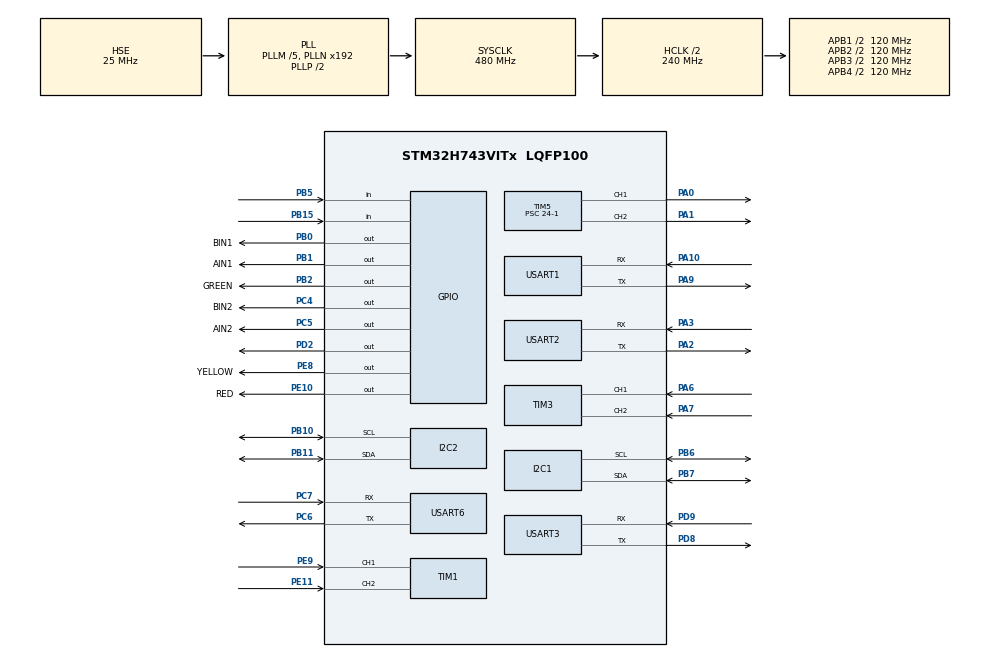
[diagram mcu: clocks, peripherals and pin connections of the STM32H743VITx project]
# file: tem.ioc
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CORTEX_M7.AccessPermission-Cortex_Memory_Protection_Unit_Region0_Settings=MPU_REGION_FULL_ACCESS
CORTEX_M7.AccessPermission-Cortex_Memory_Protection_Unit_Region1_Settings=MPU_REGION_FULL_ACCESS
CORTEX_M7.AccessPermission-Cortex_Memory_Protection_Unit_Region2_Settings=MPU_REGION_FULL_ACCESS
CORTEX_M7.AccessPermission-Cortex_Memory_Protection_Unit_Region3_Settings=MPU_REGION_FULL_ACCESS
CORTEX_M7.AccessPermission-Cortex_Memory_Protection_Unit_Region4_Settings=MPU_REGION_FULL_ACCESS
CORTEX_M7.BaseAddress-Cortex_Memory_Protection_Unit_Region0_Settings=0x24000000
CORTEX_M7.BaseAddress-Cortex_Memory_Protection_Unit_Region1_Settings=0x30000000
CORTEX_M7.BaseAddress-Cortex_Memory_Protection_Unit_Region2_Settings=0x30020000
CORTEX_M7.BaseAddress-Cortex_Memory_Protection_Unit_Region3_Settings=0x30040000
CORTEX_M7.BaseAddress-Cortex_Memory_Protection_Unit_Region4_Settings=0x38000000
CORTEX_M7.CPU_DCache=Enabled
CORTEX_M7.CPU_ICache=Enabled
CORTEX_M7.Enable-Cortex_Memory_Protection_Unit_Region0_Settings=MPU_REGION_ENABLE
CORTEX_M7.Enable-Cortex_Memory_Protection_Unit_Region1_Settings=MPU_REGION_ENABLE
CORTEX_M7.Enable-Cortex_Memory_Protection_Unit_Region2_Settings=MPU_REGION_ENABLE
CORTEX_M7.Enable-Cortex_Memory_Protection_Unit_Region3_Settings=MPU_REGION_ENABLE
CORTEX_M7.Enable-Cortex_Memory_Protection_Unit_Region4_Settings=MPU_REGION_ENABLE
CORTEX_M7.IsBufferable-Cortex_Memory_Protection_Unit_Region0_Settings=MPU_ACCESS_BUFFERABLE
CORTEX_M7.IsCacheable-Cortex_Memory_Protection_Unit_Region0_Settings=MPU_ACCESS_CACHEABLE
CORTEX_M7.MPU_Control=MPU_PRIVILEGED_DEFAULT
CORTEX_M7.Size-Cortex_Memory_Protection_Unit_Region0_Settings=MPU_REGION_SIZE_512KB
CORTEX_M7.Size-Cortex_Memory_Protection_Unit_Region1_Settings=MPU_REGION_SIZE_128KB
CORTEX_M7.Size-Cortex_Memory_Protection_Unit_Region2_Settings=MPU_REGION_SIZE_128KB
CORTEX_M7.Size-Cortex_Memory_Protection_Unit_Region3_Settings=MPU_REGION_SIZE_32KB
CORTEX_M7.Size-Cortex_Memory_Protection_Unit_Region4_Settings=MPU_REGION_SIZE_64KB
CORTEX_M7.TypeExtField-Cortex_Memory_Protection_Unit_Region0_Settings=MPU_TEX_LEVEL1
CORTEX_M7.TypeExtField-Cortex_Memory_Protection_Unit_Region1_Settings=MPU_TEX_LEVEL1
CORTEX_M7.TypeExtField-Cortex_Memory_Protection_Unit_Region2_Settings=MPU_TEX_LEVEL1
CORTEX_M7.TypeExtField-Cortex_Memory_Protection_Unit_Region3_Settings=MPU_TEX_LEVEL1
CORTEX_M7.TypeExtField-Cortex_Memory_Protection_Unit_Region4_Settings=MPU_TEX_LEVEL1
I2C1.Timing=0x307075B1
I2C2.Timing=0x307075B1
Mcu.Family=STM32H7
Mcu.Name=STM32H743VITx
Mcu.Package=LQFP100
NVIC.PriorityGroup=NVIC_PRIORITYGROUP_4
NVIC.TIM1_UP_IRQn=true\:0\:0\:false\:false\:true\:true\:true\:true
NVIC.TIM3_IRQn=true\:0\:0\:false\:false\:true\:true\:true\:true
NVIC.TIM7_IRQn=true\:0\:0\:false\:false\:true\:true\:true\:true
NVIC.USART1_IRQn=true\:0\:0\:false\:false\:true\:true\:true\:true
NVIC.USART2_IRQn=true\:0\:0\:false\:false\:true\:true\:true\:true
NVIC.USART3_IRQn=true\:0\:0\:false\:false\:true\:true\:true\:true
NVIC.USART6_IRQn=true\:0\:0\:false\:false\:true\:true\:true\:true
PA0.Signal=S_TIM5_CH1
PA1.Signal=S_TIM5_CH2
PA10.Mode=Asynchronous
PA10.Signal=USART1_RX
PA13\ (JTMS/SWDIO).Mode=Serial_Wire
PA13\ (JTMS/SWDIO).Signal=DEBUG_JTMS-SWDIO
PA14\ (JTCK/SWCLK).Mode=Serial_Wire
PA14\ (JTCK/SWCLK).Signal=DEBUG_JTCK-SWCLK
PA2.Mode=Asynchronous
PA2.Signal=USART2_TX
PA3.Mode=Asynchronous
PA3.Signal=USART2_RX
PA6.Signal=S_TIM3_CH1
PA7.Signal=S_TIM3_CH2
PA9.Mode=Asynchronous
PA9.Signal=USART1_TX
PB0.GPIO_Label=BIN1
PB0.Signal=GPIO_Output
PB1.GPIO_Label=AIN1
PB1.Signal=GPIO_Output
PB10.Mode=I2C
PB10.Signal=I2C2_SCL
PB11.Mode=I2C
PB11.Signal=I2C2_SDA
PB15.Signal=GPIO_Input
PB2.GPIO_Label=GREEN
PB2.Signal=GPIO_Output
PB5.Signal=GPIO_Input
PB6.Mode=I2C
PB6.Signal=I2C1_SCL
PB7.Mode=I2C
PB7.Signal=I2C1_SDA
PC4.GPIO_Label=BIN2
PC4.Signal=GPIO_Output
PC5.GPIO_Label=AIN2
PC5.Signal=GPIO_Output
PC6.Mode=Asynchronous
PC6.Signal=USART6_TX
PC7.Mode=Asynchronous
PC7.Signal=USART6_RX
PD2.Signal=GPIO_Output
PD8.Mode=Asynchronous
PD8.Signal=USART3_TX
PD9.Mode=Asynchronous
PD9.Signal=USART3_RX
PE10.GPIO_Label=RED
PE10.Signal=GPIO_Output
PE11.Signal=S_TIM1_CH2
PE8.GPIO_Label=YELLOW
PE8.Signal=GPIO_Output
PE9.Signal=S_TIM1_CH1
PH0-OSC_IN\ (PH0).Mode=HSE-External-Oscillator
PH0-OSC_IN\ (PH0).Signal=RCC_OSC_IN
PH1-OSC_OUT\ (PH1).Mode=HSE-External-Oscillator
PH1-OSC_OUT\ (PH1).Signal=RCC_OSC_OUT
ProjectManager.HeapSize=0x10000
ProjectManager.StackSize=0x7400
ProjectManager.TargetToolchain=MDK-ARM V5.32
RCC.ADCFreq_Value=50390625
RCC.APB1Freq_Value=120000000
RCC.APB2Freq_Value=120000000
RCC.APB3Freq_Value=120000000
RCC.APB4Freq_Value=120000000
RCC.CortexFreq_Value=480000000
RCC.D1PPRE=RCC_APB3_DIV2
RCC.D2PPRE1=RCC_APB1_DIV2
RCC.D2PPRE2=RCC_APB2_DIV2
RCC.D3PPRE=RCC_APB4_DIV2
RCC.DIVM1=5
RCC.DIVN1=192
RCC.HCLKFreq_Value=240000000
RCC.HPRE=RCC_HCLK_DIV2
RCC.HSE_VALUE=25000000
RCC.PLLSourceVirtual=RCC_PLLSOURCE_HSE
RCC.PWR_Regulator_Voltage_Scale=PWR_REGULATOR_VOLTAGE_SCALE0
RCC.ProductRev=revV
RCC.SYSCLKFreq_VALUE=480000000
RCC.SYSCLKSource=RCC_SYSCLKSOURCE_PLLCLK
RCC.USBFreq_Value=480000000
SH.S_TIM1_CH1.0=TIM1_CH1,Encoder_Interface
SH.S_TIM1_CH2.0=TIM1_CH2,Encoder_Interface
SH.S_TIM3_CH1.0=TIM3_CH1,Encoder_Interface
SH.S_TIM3_CH2.0=TIM3_CH2,Encoder_Interface
SH.S_TIM5_CH1.0=TIM5_CH1,PWM Generation1 CH1
SH.S_TIM5_CH2.0=TIM5_CH2,PWM Generation2 CH2
TIM5.Channel-PWM\ Generation1\ CH1=TIM_CHANNEL_1
TIM5.Channel-PWM\ Generation2\ CH2=TIM_CHANNEL_2
TIM5.Period=1000-1
TIM5.Prescaler=24-1
TIM6.Prescaler=240-1
TIM7.Prescaler=239
USART1.VirtualMode-Asynchronous=VM_ASYNC
USART2.VirtualMode-Asynchronous=VM_ASYNC
USART3.VirtualMode-Asynchronous=VM_ASYNC
USART6.VirtualMode=VM_ASYNC
VP_TIM5_VS_ClockSourceINT.Mode=Internal
VP_TIM6_VS_ClockSourceINT.Mode=Enable_Timer
VP_TIM7_VS_ClockSourceINT.Mode=Enable_Timer
board=custom

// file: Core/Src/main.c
/* USER CODE BEGIN Header */
/**
  ******************************************************************************
  * @file           : main.c
  * @brief          : Main program body
  ******************************************************************************
  * @attention
  *
  * Copyright (c) 2025 STMicroelectronics.
  * All rights reserved.
  *
  * This software is licensed under terms that can be found in the LICENSE file
  * in the root directory of this software component.
  * If no LICENSE file comes with this software, it is provided AS-IS.
  *
  ******************************************************************************
  */
/* USER CODE END Header */
#include "main.h"
#include "i2c.h"
#include "tim.h"
#include "usart.h"
#include "gpio.h"

/* USER CODE BEGIN Includes */
#include "AllHeader.h"
/* USER CODE END Includes */

/* USER CODE BEGIN PV */
// MS601M 传感器数据结构体
atk_ms601m_attitude_data_t attitude_dat;
atk_ms601m_gyro_data_t gyro_dat;
atk_ms601m_accelerometer_data_t accelerometer_dat;
char message[256];
float current_yaw;//用于存储现在的yaw
const float back_angle_cor = -1.6;//用于纠正陀螺仪的系统误差，当角度过小（逆时针不够）
float distance = 0.0f;// 距离变量

//感为传感器数据变量
int Digtal[8];

//状态机变量
MODE mode = {WAIT_MODE}; // 初始化模式为送药模式，位置为零
short drug_change = 1;
//用于标记是否需要进行药物模式的转化，
//只有在最开始的时候是1，以及在最后程序停止的时候是1，中间为0，即中间不需要检测是否装药
bool Sampling_Begin = true; //视觉模块是否开始采样
uint32_t mode_begin_t = 0;//记录模式开始的时间
bool hasStopped = false;

//测量过的转弯参数
const float r = 0.20;
const float tel = 20;

const int back_delay = 300;//防止敲头，在后转之后停止一段时间

// 接收状态和缓冲区
uint8_t Visual_Rx_Buff[Visual_Rx_Buff_Len] = {0};
// 真正接受数据的函数
uint8_t Visual_Data[25] = {0} ;

/* USER CODE END PV */

void SystemClock_Config(void);
static void MPU_Initialize(void);
static void MPU_Config(void);
/* USER CODE BEGIN PFP */
bool CheckAndTurn(void);
bool CheckAndEnd(void);
/* USER CODE END PFP */

int main(void)
{

  /* Enable I-Cache---------------------------------------------------------*/
  SCB_EnableICache();

  /* Enable D-Cache---------------------------------------------------------*/
  SCB_EnableDCache();

  /* MCU Configuration--------------------------------------------------------*/

  /* Reset of all peripherals, Initializes the Flash interface and the Systick. */
  HAL_Init();

  /* MPU Configuration--------------------------------------------------------*/
  MPU_Config();

  /* Configure the system clock */
  SystemClock_Config();

  /* Initialize all configured peripherals */
  MX_GPIO_Init();
  MX_TIM7_Init();
  MX_USART1_UART_Init();
  MX_TIM1_Init();
  MX_TIM3_Init();
  MX_TIM5_Init();
  MX_TIM6_Init();
  MX_USART2_UART_Init();
  MX_USART3_UART_Init();
  MX_I2C1_Init();
  MX_USART6_UART_Init();
  MX_I2C2_Init();
  /* USER CODE BEGIN 2 */
	//陀螺仪初始化
	atk_ms601m_init(115200);
  //状态机初始化
	mode.loc.n = 0;
	// 电机和编码器初始化
  Motor Left, Right;
	MEInit(&Left, &Right);
	//OLED屏幕初始化
	OLED_Init();
  OLED_Clear();
  //视觉模块初始化
  visual_full_reset();
	// 接收中断初始化
  HAL_UARTEx_ReceiveToIdle_IT(&huart6, Visual_Rx_Buff, Visual_Rx_Buff_Len);

	mode.loc.n = 0;

//
  /* USER CODE END 2 */
  /* Infinite loop */
  /* USER CODE BEGIN WHILE */
  while (1)
  {
    UpdateData_Car(); // 更新汽车状态数据
		IIC_Get_Digtal(Digtal);
//		SwitchLED(mode.loc.n);
//		if(mode.dir == UNSTABLE)
//			RED_up();
    if(drug_change)
    {
      if(drugSet(&mode))// 进行药物模式的转化，如果转换成功进入if
      {
        drug_change = 0; // 转化完成后将标志位设为0
        mode_begin_t = HAL_GetTick(); // 记录模式开始的时间
      }
      continue; // 继续下一次循环
    }
    switch (mode.drug)
    {
      case WAIT_MODE:
        // 等待模式下的处理逻辑
        break;
      case PROPEL_MODE:
        // 药物模式下的处理逻辑
        if(!isEndOfWay(mode.loc)) // 检查当前位置是否是终点，如果不是循迹正行
        {
          if(isIntheCheckLoc(mode.loc)) // 如果在检查位置
          {
            if(isInTheCheckplace(mode.loc)) // 如果在检查位置
            {
              Sampling_Begin = true; // 开始采样
              lineWalking_low(); // 进行低速循迹行走
            }
            else // 如果不在检查位置
            {
              if(Sampling_Begin == true) // 如果开始采样
              {
                Sampling_Begin = false; // 停止采样
                visual_process_command(&Sampling_Begin);
              }
              if(mode.dir == UNSTABLE && !hasStopped) // 如果方向不稳定
              {
                Sampling_Begin = true; // 重新开始采样
                hasStopped = true; // 停止前进
                Break(); // 停止小车
                HAL_Delay(500); // 等待500ms
              }
              if(!CheckAndTurn()) // 检查是否需要结束当前模式
                lineWalking_low(); // 进行高速循迹行走
           }
          }
          else // 如果不在检查位置
            if(!CheckAndTurn()) // 检查是否需要结束当前模式
              lineWalking_high(); // 进行高速循迹行走
        }
        else // 如果是终点
          if(!CheckAndEnd()) // 因为是最终点，所以停止
            lineWalking_high(); // 进行循迹行走
        break;
      case RETURN_MODE:
        // 返回模式下的处理逻辑
        if(mode.loc.n == 0) // 如果位置记录为空,说明小车已经回到了最开始的地方，则用停车逻辑来处理
        {
          if(!CheckAndEnd()) // 检查是否需要结束当前模式
            lineWalking_high(); // 进行循迹行走
        }
        else if(isEndOfWay(mode.loc)) //如果是除零点以外的终点，需要倒退
        {
          if(!CheckAndTurn())
            Back(LocToTheta(mode.loc) + back_angle_cor); // 后退到上一个位置
        }
        else // 如果不是终点
        {
          if(!CheckAndTurn()) // 检查是否需要结束当前模式
            lineWalking_high(); // 进行循迹行走
        }
        break;
      default:
        // 未知模式的处理逻辑
        break;
    }
    /* USER CODE END WHILE */
	}
}

void SystemClock_Config(void)
{
  RCC_OscInitTypeDef RCC_OscInitStruct = {0};
  RCC_ClkInitTypeDef RCC_ClkInitStruct = {0};

  /** Supply configuration update enable
  */
  HAL_PWREx_ConfigSupply(PWR_LDO_SUPPLY);

  /** Configure the main internal regulator output voltage
  */
  __HAL_PWR_VOLTAGESCALING_CONFIG(PWR_REGULATOR_VOLTAGE_SCALE1);

  while(!__HAL_PWR_GET_FLAG(PWR_FLAG_VOSRDY)) {}

  __HAL_RCC_SYSCFG_CLK_ENABLE();
  __HAL_PWR_VOLTAGESCALING_CONFIG(PWR_REGULATOR_VOLTAGE_SCALE0);

  while(!__HAL_PWR_GET_FLAG(PWR_FLAG_VOSRDY)) {}

  /** Initializes the RCC Oscillators according to the specified parameters
  * in the RCC_OscInitTypeDef structure.
  */
  RCC_OscInitStruct.OscillatorType = RCC_OSCILLATORTYPE_HSE;
  RCC_OscInitStruct.HSEState = RCC_HSE_ON;
  RCC_OscInitStruct.PLL.PLLState = RCC_PLL_ON;
  RCC_OscInitStruct.PLL.PLLSource = RCC_PLLSOURCE_HSE;
  RCC_OscInitStruct.PLL.PLLM = 5;
  RCC_OscInitStruct.PLL.PLLN = 192;
  RCC_OscInitStruct.PLL.PLLP = 2;
  RCC_OscInitStruct.PLL.PLLQ = 2;
  RCC_OscInitStruct.PLL.PLLR = 2;
  RCC_OscInitStruct.PLL.PLLRGE = RCC_PLL1VCIRANGE_2;
  RCC_OscInitStruct.PLL.PLLVCOSEL = RCC_PLL1VCOWIDE;
  RCC_OscInitStruct.PLL.PLLFRACN = 0;
  if (HAL_RCC_OscConfig(&RCC_OscInitStruct) != HAL_OK)
  {
    Error_Handler();
  }

  /** Initializes the CPU, AHB and APB buses clocks
  */
  RCC_ClkInitStruct.ClockType = RCC_CLOCKTYPE_HCLK|RCC_CLOCKTYPE_SYSCLK
                              |RCC_CLOCKTYPE_PCLK1|RCC_CLOCKTYPE_PCLK2
                              |RCC_CLOCKTYPE_D3PCLK1|RCC_CLOCKTYPE_D1PCLK1;
  RCC_ClkInitStruct.SYSCLKSource = RCC_SYSCLKSOURCE_PLLCLK;
  RCC_ClkInitStruct.SYSCLKDivider = RCC_SYSCLK_DIV1;
  RCC_ClkInitStruct.AHBCLKDivider = RCC_HCLK_DIV2;
  RCC_ClkInitStruct.APB3CLKDivider = RCC_APB3_DIV2;
  RCC_ClkInitStruct.APB1CLKDivider = RCC_APB1_DIV2;
  RCC_ClkInitStruct.APB2CLKDivider = RCC_APB2_DIV2;
  RCC_ClkInitStruct.APB4CLKDivider = RCC_APB4_DIV2;

  if (HAL_RCC_ClockConfig(&RCC_ClkInitStruct, FLASH_LATENCY_4) != HAL_OK)
  {
    Error_Handler();
  }
}

/* USER CODE BEGIN 4 */
//用于给陀螺仪提供1us的定时
void delay_us_hal(uint16_t nus)
{
    __HAL_TIM_SET_COUNTER(&htim6, 0);
    HAL_TIM_Base_Start(&htim6);
    while (__HAL_TIM_GET_COUNTER(&htim6) < nus);
    HAL_TIM_Base_Stop(&htim6);
}

// 定时器中断回调函数，用于更新编码器速度
void HAL_TIM_PeriodElapsedCallback(TIM_HandleTypeDef *htim)
{
    // 更新所有编码器的速度数据
    UpdateAllSpeed(htim);
}

bool CheckAndTurn()//所有checkturn函数都调用了dirget，在dirget中更新了mode.loc.trace和mode.loc.n
{
  hasStopped = false; // 重置停止状态
  if(HAL_GetTick() - mode_begin_t > 1000)
  {
    if(cross_Roads_Detect())
    {
			mode_begin_t = HAL_GetTick();
			if(Sampling_Begin == true)
			{
				Sampling_Begin = false;
				visual_process_command(&Sampling_Begin);
				GREEN_up();
			}
      switch(DirGet(&mode)) // 获取下一个方向
      {
				case BACKWARD://在第二题会用到，目前不会用到
        case FORWARD:
          return true; // 继续前进
        case LEFT:
					current_yaw = getYaw();
          while(!isInTheYaw(sumTheta(current_yaw, 90), tel)) {runCircle(r, 0.3, 90, LEFT); UpdateData_Car();}
					RED_down();
          Break();
          return true; // 继续前进
        case RIGHT:
					current_yaw = getYaw();
          while(!isInTheYaw(sumTheta(current_yaw, -90), tel)){runCircle(r, 0.3, 90, RIGHT); UpdateData_Car();}
          Break();
          return true; // 继续前进
      }
    }
  }

  return false; // 没有需要转向的情况
}
bool CheckAndEnd()
{
	if(HAL_GetTick() - mode_begin_t > 100)
  {
		mode_begin_t = HAL_GetTick();
		if(half_Detect())
		{
			Break();
			drug_change = 1; // 设置标志位为1，表示需要进行药物模式的转化
			if(mode.drug == PROPEL_MODE)
      {
        RED_up();
      }
      if(mode.loc.n == 0) // 如果位置记录为空,说明小车已经回到了最开始的地方
      {
        GREEN_up(); // 绿灯亮起
        mode.drug = WAIT_MODE; // 设置模式为等待模式
      }
			return true; // 需要结束当前模式
		}
	}
  return false; // 没有需要结束的情况
}

void HAL_UARTEx_RxEventCallback(UART_HandleTypeDef *huart, uint16_t Size)
{
  // 1. 检查是否是目标串口 (USART6)
  if (huart->Instance == USART6)
  {
    // 2. 将数据从DMA缓冲区复制到处理缓冲区 (更高效的方式)
	  memcpy(Visual_Data, Visual_Rx_Buff, Size);
    // 3. 解析数据并进行方向控制
    visual_process_command(&Sampling_Begin);
  }
	// 4.再次接收
  HAL_UARTEx_ReceiveToIdle_IT(&huart6, Visual_Rx_Buff, Visual_Rx_Buff_Len);
}

/* USER CODE END 4 */

/* MPU Configuration */

void MPU_Config(void)
{
  MPU_Region_InitTypeDef MPU_InitStruct = {0};

  /* Disables the MPU */
  HAL_MPU_Disable();

  /** Initializes and configures the Region and the memory to be protected
  */
  MPU_InitStruct.Enable = MPU_REGION_ENABLE;
  MPU_InitStruct.Number = MPU_REGION_NUMBER0;
  MPU_InitStruct.BaseAddress = 0x24000000;
  MPU_InitStruct.Size = MPU_REGION_SIZE_512KB;
  MPU_InitStruct.SubRegionDisable = 0x0;
  MPU_InitStruct.TypeExtField = MPU_TEX_LEVEL1;
  MPU_InitStruct.AccessPermission = MPU_REGION_FULL_ACCESS;
  MPU_InitStruct.DisableExec = MPU_INSTRUCTION_ACCESS_ENABLE;
  MPU_InitStruct.IsShareable = MPU_ACCESS_NOT_SHAREABLE;
  MPU_InitStruct.IsCacheable = MPU_ACCESS_CACHEABLE;
  MPU_InitStruct.IsBufferable = MPU_ACCESS_BUFFERABLE;

  HAL_MPU_ConfigRegion(&MPU_InitStruct);

  /** Initializes and configures the Region and the memory to be protected
  */
  MPU_InitStruct.Number = MPU_REGION_NUMBER1;
  MPU_InitStruct.BaseAddress = 0x30000000;
  MPU_InitStruct.Size = MPU_REGION_SIZE_128KB;
  MPU_InitStruct.IsCacheable = MPU_ACCESS_NOT_CACHEABLE;
  MPU_InitStruct.IsBufferable = MPU_ACCESS_NOT_BUFFERABLE;

  HAL_MPU_ConfigRegion(&MPU_InitStruct);

  /** Initializes and configures the Region and the memory to be protected
  */
  MPU_InitStruct.Number = MPU_REGION_NUMBER2;
  MPU_InitStruct.BaseAddress = 0x30020000;

  HAL_MPU_ConfigRegion(&MPU_InitStruct);

  /** Initializes and configures the Region and the memory to be protected
  */
  MPU_InitStruct.Number = MPU_REGION_NUMBER3;
  MPU_InitStruct.BaseAddress = 0x30040000;
  MPU_InitStruct.Size = MPU_REGION_SIZE_32KB;

  HAL_MPU_ConfigRegion(&MPU_InitStruct);

  /** Initializes and configures the Region and the memory to be protected
  */
  MPU_InitStruct.Number = MPU_REGION_NUMBER4;
  MPU_InitStruct.BaseAddress = 0x38000000;
  MPU_InitStruct.Size = MPU_REGION_SIZE_64KB;

  HAL_MPU_ConfigRegion(&MPU_InitStruct);
  /* Enables the MPU */
  HAL_MPU_Enable(MPU_PRIVILEGED_DEFAULT);

}

void Error_Handler(void)
{
  __disable_irq();
  while (1)
  {
  }
}
